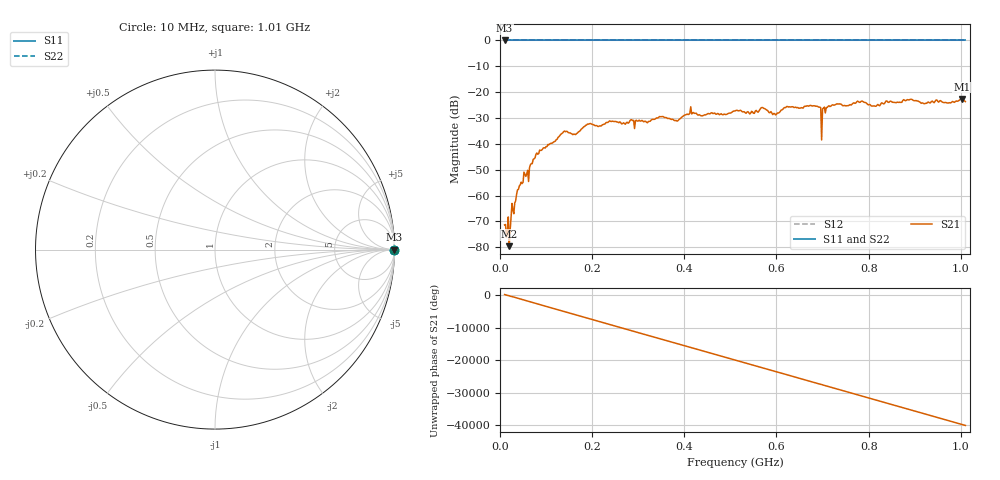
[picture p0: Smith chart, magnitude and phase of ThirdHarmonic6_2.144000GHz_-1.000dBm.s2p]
! 8/17/2025 1:36:38 AM
! C:\ANRITSUVNA\TEMP\TEMP.S2P
! CHANNEL.1
! TR.MEASUREMENT
! RAW.DATA
! RF.CORRECTION.OFF
! AVERAGING.OFF
! IF.BANDWIDTH: 5KHZ
! SWEEPTYPE:  FREQ.SWEEP(Linear)
! Reference Plane Port Info
! PORT:  PORT1  PORT2
! DISTANCE:  0  m  0  m
! TIME:  0  s  0  s
! PHASE.OFFSET:  0  deg.  0  deg.
! LOSS:  0  dB  0  dB
! REF.LOSS:  0  dB  0  dB
! REF.FREQ:  0  Hz  0  Hz
! Power Info
! POWER:  -20  dBm  -20  dBm
! EFF.POWER:  -20  dBm  -20  dBm
! SOURCE.ATTEN:  0  dB  0  dB
! TEST.ATTEN:  0  dB  0  dB
# GHZ S RI R 50.0
! FREQ.GHZ  S11RE  S11IM  S21RE  S21IM  S12RE  S12IM  S22RE  S22IM
!; PortSelection: Port_12
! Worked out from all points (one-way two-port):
!   501 points, 10 MHz to 1.01 GHz, reference 50 ohm
!   highest |S21| = -22.62 dB at 1.002 GHz (marker M1); lowest = -79.5 dB at 20 MHz (marker M2)
!   lowest |S11| = 0.0 dB at 10 MHz (marker M3)
!   |S11| at or under -10 dB: nowhere
!   |S22| runs from 0.0 to 0.0 dB; largest |S21 - S12| = 1.1
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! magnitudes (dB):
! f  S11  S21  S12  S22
! 10 MHz  0.0  -71.3  0.0  0.0
! 20 MHz  0.0  -79.5  0.0  0.0
! 40 MHz  0.0  -57.6  0.0  0.0
! 76 MHz  0.0  -45.4  0.0  0.0
! 136 MHz  0.0  -35.8  0.0  0.0
! 178 MHz  0.0  -34.1  0.0  0.0
! 344 MHz  0.0  -29.8  0.0  0.0
! 382 MHz  0.0  -30.9  0.0  0.0
! 416 MHz  0.0  -28.4  0.0  0.0
! 510 MHz  0.0  -27.2  0.0  0.0
! 570 MHz  0.0  -25.9  0.0  0.0
! 596 MHz  0.0  -28.3  0.0  0.0
! 620 MHz  0.0  -26.0  0.0  0.0
! 678 MHz  0.0  -25.4  0.0  0.0
! 692 MHz  0.0  -25.8  0.0  0.0
! 694 MHz  0.0  -25.8  0.0  0.0
! 702 MHz  0.0  -26.2  0.0  0.0
! 704 MHz  0.0  -25.8  0.0  0.0
! 732 MHz  0.0  -24.5  0.0  0.0
! 844 MHz  0.0  -23.9  0.0  0.0
! 1.002 GHz  0.0  -22.6  0.0  0.0
! 1.01 GHz  0.0  -23.6  0.0  0.0
